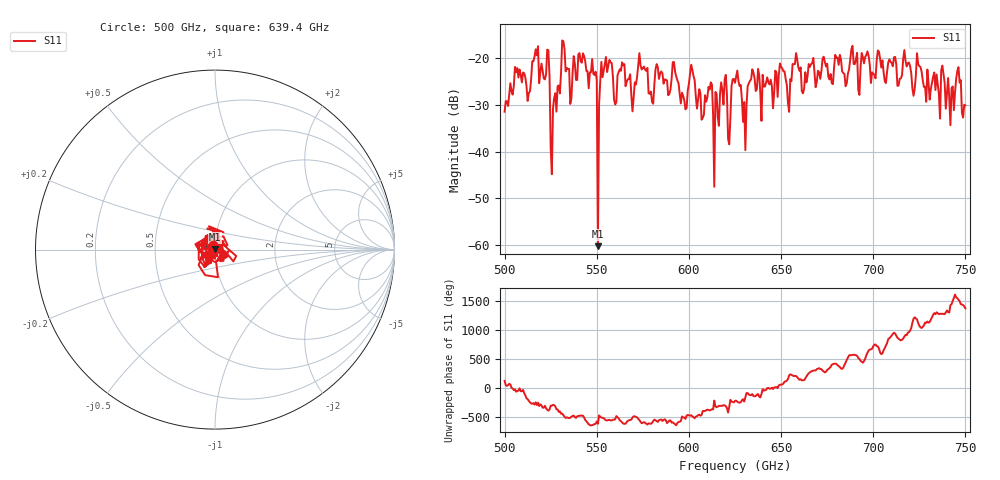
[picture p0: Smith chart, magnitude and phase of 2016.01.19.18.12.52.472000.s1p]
!Created with skrf (http://scikit-rf.org).
# GHz S RI R 50.0
!freq ReS11 ImS11
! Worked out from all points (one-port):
!   401 points, 500 GHz to 750 GHz, reference 50 ohm
!   lowest |S11| = -60.2 dB at 550.6 GHz (marker M1), VSWR 1.00, Z = 50 + j0.096 ohm
!   |S11| at or under -10 dB: start of sweep to end of sweep
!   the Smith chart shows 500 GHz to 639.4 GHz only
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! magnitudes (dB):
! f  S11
! 500 GHz  -31.4
! 506.9 GHz  -22.1
! 513.1 GHz  -27.5
! 516.9 GHz  -18.1
! 523.1 GHz  -18.2
! 526.2 GHz  -30.7
! 531.2 GHz  -16.2
! 548.8 GHz  -23.6
! 550.6 GHz  -60.2
! 553.8 GHz  -22.7
! 562.5 GHz  -22.4
! 593.8 GHz  -24.7
! 598.1 GHz  -30.9
! 601.9 GHz  -22.5
! 608.1 GHz  -32.1
! 611.2 GHz  -26.7
! 615 GHz  -27.6
! 618.8 GHz  -29.9
! 621.9 GHz  -38.4
! 625 GHz  -25.3
! 630 GHz  -29.4
! 633.8 GHz  -24.5
! 656.2 GHz  -21.2
! 687.5 GHz  -20.3
! 718.8 GHz  -21.1
! 742.5 GHz  -26.4
! 746.2 GHz  -21.9
! 750 GHz  -30.1
